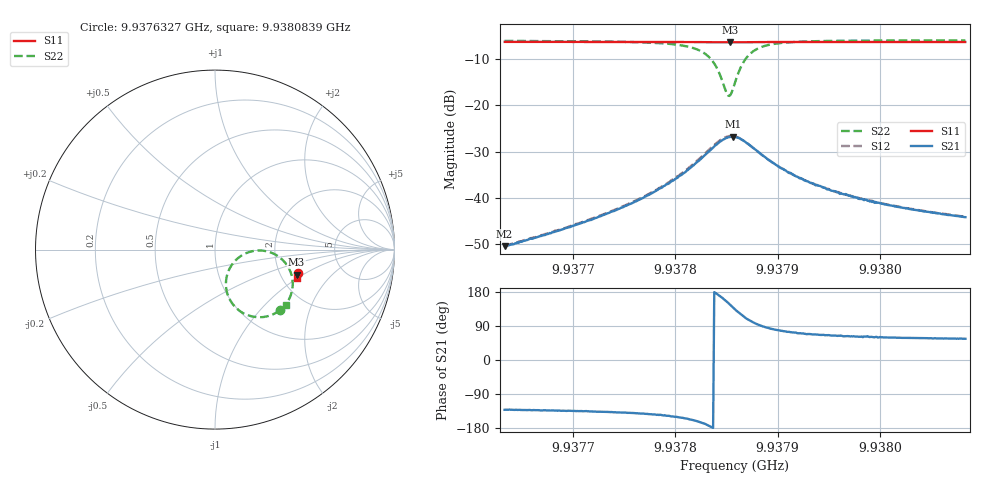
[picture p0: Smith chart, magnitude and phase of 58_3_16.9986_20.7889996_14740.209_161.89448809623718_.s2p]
#  HZ  S  RI  R  50.00
! Rohde & Schwarz Vector Network Analyzer
! Rohde-Schwarz,ZNB20-2Port,1311601062101988,3.16
! Created: UTC 3/20/2024, 10:54:42 PM
! freq[Hz]  re:S11  im:S11  re:S21  im:S21  re:S12  im:S12  re:S22  im:S22
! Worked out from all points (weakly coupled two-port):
!   401 points, 9.9376327 GHz to 9.9380839 GHz, reference 50 ohm
!   highest |S21| = -26.79 dB at 9.9378561 GHz (marker M1); lowest = -50.4 dB at 9.9376327 GHz (marker M2)
!   lowest |S11| = -6.5 dB at 9.9378538 GHz (marker M3), VSWR 2.81, Z = 122 - j44.1 ohm
!   |S11| at or under -10 dB: nowhere
!   |S22| runs from -18.0 to -6.0 dB; largest |S21 - S12| = 0.0029
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9.93763273e9  0.4647 -0.1277  -0.002 -0.00227  -0.00207 -0.0023  0.3607 -0.3382
9.9377083e9  0.4626 -0.1331  -0.0038 -0.00383  -0.00395 -0.00381  0.3402 -0.3518
9.93775455e9  0.4613 -0.1364  -0.00646 -0.00555  -0.0067 -0.00559  0.3139 -0.3643
9.93778388e9  0.4603 -0.1385  -0.0104 -0.00721  -0.0106 -0.00722  0.2803 -0.3739
9.93781207e9  0.4586 -0.1408  -0.0182 -0.00843  -0.019 -0.00818  0.2106 -0.3733
9.93782899e9  0.457 -0.1416  -0.0285 -0.00579  -0.0297 -0.00483  0.1292 -0.3348
9.93783689e9  0.456 -0.1418  -0.0349 -0.000502  -0.0362 0.000968  0.084 -0.2812
9.93784366e9  0.455 -0.1415  -0.0396 0.0081  -0.0407 0.01  0.0612 -0.203
9.93785042e9  0.4546 -0.1404  -0.04 0.0198  -0.0398 0.0226  0.0816 -0.1052
9.93785381e9  0.4545 -0.1398  -0.0373 0.0262  -0.0368 0.0288  0.1139 -0.0608
9.93785606e9  0.4548 -0.1395  -0.0348 0.0298  -0.0337 0.0323  0.1424 -0.0369
9.93785832e9  0.4551 -0.1391  -0.0315 0.0328  -0.03 0.0351  0.1744 -0.0197
9.93786283e9  0.4559 -0.1388  -0.0242 0.0368  -0.0222 0.0381  0.2406 -0.00478
9.93786734e9  0.4564 -0.1389  -0.0166 0.0375  -0.0145 0.0384  0.2998 -0.0124
9.93787298e9  0.4573 -0.1393  -0.00883 0.0358  -0.0072 0.0362  0.3549 -0.0395
9.93787975e9  0.458 -0.1401  -0.00258 0.0322  -0.00156 0.0321  0.3958 -0.0791
9.93788877e9  0.4583 -0.1412  0.00184 0.027  0.00272 0.0269  0.4216 -0.1263
9.93790231e9  0.4586 -0.1428  0.00458 0.0209  0.00515 0.0207  0.4326 -0.1776
9.93793389e9  0.458 -0.1457  0.00546 0.0133  0.00568 0.0132  0.4268 -0.2399
9.93796322e9  0.4573 -0.1477  0.00495 0.00992  0.00522 0.00989  0.417 -0.2667
9.93800946e9  0.456 -0.1511  0.00428 0.00722  0.0044 0.00714  0.4055 -0.2893
9.9380839e9  0.4542 -0.1561  0.00348 0.00516  0.00363 0.00516  0.3928 -0.308
